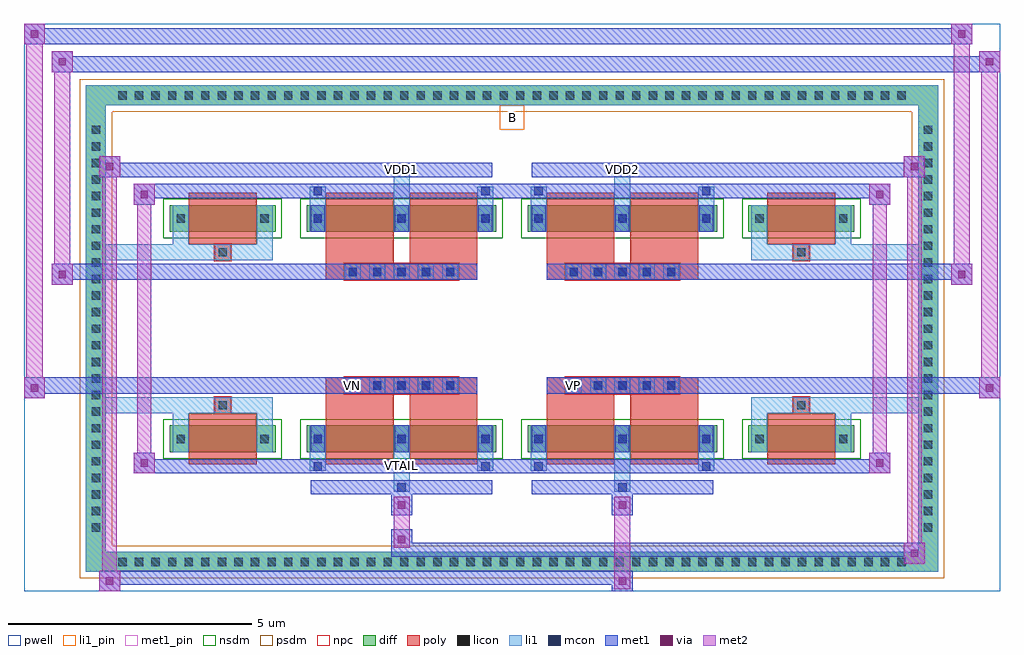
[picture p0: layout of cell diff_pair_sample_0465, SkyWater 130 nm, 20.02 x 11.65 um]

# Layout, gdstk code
import gdstk
lib = gdstk.Library(unit=1e-6, precision=5e-09)
def R(c, l, rs):  # rectangles x0, y0, x1, y1
    for r in rs: c.add(gdstk.rectangle(r[:2], r[2:], *l))
def A(c, l, x, y, w, h, nx, ny, dx, dy):  # array of equal rectangles
    R(c, l, [(x+i*dx, y+j*dy, x+i*dx+w, y+j*dy+h) for i in range(nx) for j in range(ny)])
def P(c, l, *ps):  # polygons
    for p in ps: c.add(gdstk.Polygon(p, *l))
pwell = (64, 44)
diff = (65, 20)
poly = (66, 20)
licon = (66, 44)
li1_pin = (67, 16)
li1 = (67, 20)
mcon = (67, 44)
met1_pin = (68, 16)
met1 = (68, 20)
via = (68, 44)
met2 = (69, 20)
nsdm = (93, 44)
psdm = (94, 20)
npc = (95, 20)

diff_pair_sample_0465 = lib.new_cell('diff_pair_sample_0465')
R(diff_pair_sample_0465, pwell, [(-10.01,-5.39,10.01,6.26), (-7.33,-3.58,-0.01,-0.8), (0.01,-3.58,7.33,-0.8), (-7.33,0.8,-0.01,3.58), (0.01,0.8,7.33,3.58)])
A(diff_pair_sample_0465, diff, -8.195, -4.99, 0.41, 0.41, 48, 2, 0.34, 9.57)
A(diff_pair_sample_0465, diff, -8.74, -4.285, 0.41, 0.41, 1, 25, 0, 0.34)
A(diff_pair_sample_0465, diff, 8.33, -4.285, 0.41, 0.41, 1, 25, 0, 0.34)
R(diff_pair_sample_0465, diff, [(-8.195,-4.99,8.195,-4.58), (-8.74,-4.285,-8.33,4.285), (8.33,-4.285,8.74,4.285), (-7.02,-2.535,-4.85,-1.985), (-4.21,-2.535,-0.32,-1.985), (0.32,-2.535,4.21,-1.985), (4.85,-2.535,7.02,-1.985), (-7.02,1.985,-4.85,2.535), (-4.21,1.985,-0.32,2.535), (0.32,1.985,4.21,2.535), (4.85,1.985,7.02,2.535), (-8.195,4.58,8.195,4.99)])
P(diff_pair_sample_0465, diff, [(8.74,4.99),(-8.74,4.99),(-8.74,-4.58),(-8.33,-4.58),(-8.33,4.58),(8.33,4.58),(8.33,-4.58),(-8.33,-4.58),(-8.74,-4.58),(-8.74,-4.99),(8.74,-4.99)])
A(diff_pair_sample_0465, poly, -3.43, -1.33, 0.33, 0.33, 5, 2, 0.5, 2.33)
A(diff_pair_sample_0465, poly, 1.1, -1.33, 0.33, 0.33, 5, 2, 0.5, 2.33)
R(diff_pair_sample_0465, poly, [(-6.63,-2.785,-5.24,-1.735), (-3.82,-2.785,-2.43,-1.735), (-2.1,-2.785,-0.71,-1.735), (0.71,-2.785,2.1,-1.735), (2.43,-2.785,3.82,-1.735), (5.24,-2.785,6.63,-1.735), (-6.1,-1.735,-5.77,-1.405), (-6.1,-1.735,-5.77,-1.405), (-3.82,-1.735,-2.43,-1.33), (-2.1,-1.735,-0.71,-1.33), (0.71,-1.735,2.1,-1.33), (2.43,-1.735,3.82,-1.33), (5.77,-1.735,6.1,-1.405), (5.77,-1.735,6.1,-1.405), (-3.82,-1.33,-0.71,-1), (0.71,-1.33,3.82,-1), (-3.82,1,-0.71,1.33), (0.71,1,3.82,1.33), (-3.82,1.33,-2.43,1.735), (-2.1,1.33,-0.71,1.735), (0.71,1.33,2.1,1.735), (2.43,1.33,3.82,1.735), (-6.1,1.405,-5.77,1.735), (-6.1,1.405,-5.77,1.735), (5.77,1.405,6.1,1.735), (5.77,1.405,6.1,1.735), (-6.63,1.735,-5.24,2.785), (-3.82,1.735,-2.43,2.785), (-2.1,1.735,-0.71,2.785), (0.71,1.735,2.1,2.785), (2.43,1.735,3.82,2.785), (5.24,1.735,6.63,2.785)])
A(diff_pair_sample_0465, licon, -8.075, -4.87, 0.17, 0.17, 48, 2, 0.34, 9.57)
A(diff_pair_sample_0465, licon, -8.62, -4.165, 0.17, 0.17, 1, 25, 0, 0.34)
A(diff_pair_sample_0465, licon, 8.45, -4.165, 0.17, 0.17, 1, 25, 0, 0.34)
A(diff_pair_sample_0465, licon, -4.07, -2.345, 0.17, 0.17, 3, 2, 1.72, 4.52)
A(diff_pair_sample_0465, licon, 0.46, -2.345, 0.17, 0.17, 3, 2, 1.72, 4.52)
A(diff_pair_sample_0465, licon, -3.35, -1.25, 0.17, 0.17, 5, 2, 0.5, 2.33)
A(diff_pair_sample_0465, licon, 1.18, -1.25, 0.17, 0.17, 5, 2, 0.5, 2.33)
R(diff_pair_sample_0465, licon, [(-6.88,-2.345,-6.71,-2.175), (-5.16,-2.345,-4.99,-2.175), (4.99,-2.345,5.16,-2.175), (6.71,-2.345,6.88,-2.175), (-6.02,-1.655,-5.85,-1.485), (5.85,-1.655,6.02,-1.485), (-6.02,1.485,-5.85,1.655), (5.85,1.485,6.02,1.655), (-6.88,2.175,-6.71,2.345), (-5.16,2.175,-4.99,2.345), (4.99,2.175,5.16,2.345), (6.71,2.175,6.88,2.345)])
R(diff_pair_sample_0465, li1_pin, [(-0.25,4.08,0.25,4.58)])
A(diff_pair_sample_0465, li1, -8.155, -4.95, 0.33, 0.33, 48, 2, 0.34, 9.57)
A(diff_pair_sample_0465, li1, -8.7, -4.245, 0.33, 0.33, 1, 25, 0, 0.34)
A(diff_pair_sample_0465, li1, 8.37, -4.245, 0.33, 0.33, 1, 25, 0, 0.34)
A(diff_pair_sample_0465, li1, -4.15, -2.535, 0.33, 0.55, 3, 2, 1.72, 4.52)
A(diff_pair_sample_0465, li1, 0.38, -2.535, 0.33, 0.55, 3, 2, 1.72, 4.52)
A(diff_pair_sample_0465, li1, -4.15, -2.425, 0.33, 0.33, 3, 2, 1.72, 4.52)
A(diff_pair_sample_0465, li1, 0.38, -2.425, 0.33, 0.33, 3, 2, 1.72, 4.52)
A(diff_pair_sample_0465, li1, -3.43, -1.33, 0.33, 0.33, 5, 2, 0.5, 2.33)
A(diff_pair_sample_0465, li1, 1.1, -1.33, 0.33, 0.33, 5, 2, 0.5, 2.33)
R(diff_pair_sample_0465, li1, [(-8.74,-4.99,-8.33,-4.58), (-8.74,-4.99,-8.33,-4.58), (-8.33,-4.99,8.33,-4.58), (8.33,-4.99,8.74,-4.58), (8.33,-4.99,8.74,-4.58), (-8.74,-4.58,-8.33,4.58), (8.33,-4.58,8.74,4.58), (-2.43,-3.34,-2.1,-2.535), (-2.35,-3.34,-2.18,-3.17), (2.1,-3.34,2.43,-2.535), (2.18,-3.34,2.35,-3.17), (-4.15,-2.91,-3.82,-2.535), (-4.07,-2.91,-3.9,-2.74), (-0.71,-2.91,-0.38,-2.535), (-0.63,-2.91,-0.46,-2.74), (0.38,-2.91,0.71,-2.535), (0.46,-2.91,0.63,-2.74), (3.82,-2.91,4.15,-2.535), (3.9,-2.91,4.07,-2.74), (-6.96,-2.535,-6.63,-1.985), (-5.24,-2.535,-4.91,-1.985), (4.91,-2.535,5.24,-1.985), (6.63,-2.535,6.96,-1.985), (-6.96,-2.425,-6.63,-2.095), (-5.24,-2.425,-4.91,-2.095), (4.91,-2.425,5.24,-2.095), (6.63,-2.425,6.96,-2.095), (-4.07,-2.345,-3.9,-2.175), (-4.07,-2.345,-3.9,-2.175), (-2.35,-2.345,-2.18,-2.175), (-2.35,-2.345,-2.18,-2.175), (-0.63,-2.345,-0.46,-2.175), (-0.63,-2.345,-0.46,-2.175), (0.46,-2.345,0.63,-2.175), (0.46,-2.345,0.63,-2.175), (2.18,-2.345,2.35,-2.175), (2.18,-2.345,2.35,-2.175), (3.9,-2.345,4.07,-2.175), (3.9,-2.345,4.07,-2.175), (-6.96,-1.985,-6.63,-1.405), (-5.24,-1.985,-4.91,-1.405), (4.91,-1.985,5.24,-1.405), (6.63,-1.985,6.96,-1.405), (-8.74,-1.735,-6.1,-1.405), (-6.96,-1.735,-6.1,-1.405), (-6.1,-1.735,-5.77,-1.405), (-5.77,-1.735,-4.91,-1.405), (4.91,-1.735,5.77,-1.405), (5.77,-1.735,6.1,-1.405), (5.77,-1.735,8.74,-1.405), (6.1,-1.735,6.96,-1.405), (-8.74,1.405,-6.1,1.735), (-6.96,1.405,-6.1,1.735), (-6.96,1.405,-6.63,1.985), (-6.1,1.405,-5.77,1.735), (-5.77,1.405,-4.91,1.735), (-5.24,1.405,-4.91,1.985), (4.91,1.405,5.77,1.735), (4.91,1.405,5.24,1.985), (5.77,1.405,6.1,1.735), (5.77,1.405,8.74,1.735), (6.1,1.405,6.96,1.735), (6.63,1.405,6.96,1.985), (-6.96,1.985,-6.63,2.535), (-5.24,1.985,-4.91,2.535), (4.91,1.985,5.24,2.535), (6.63,1.985,6.96,2.535), (-6.96,2.095,-6.63,2.425), (-5.24,2.095,-4.91,2.425), (4.91,2.095,5.24,2.425), (6.63,2.095,6.96,2.425), (-4.07,2.175,-3.9,2.345), (-4.07,2.175,-3.9,2.345), (-2.35,2.175,-2.18,2.345), (-2.35,2.175,-2.18,2.345), (-0.63,2.175,-0.46,2.345), (-0.63,2.175,-0.46,2.345), (0.46,2.175,0.63,2.345), (0.46,2.175,0.63,2.345), (2.18,2.175,2.35,2.345), (2.18,2.175,2.35,2.345), (3.9,2.175,4.07,2.345), (3.9,2.175,4.07,2.345), (-4.15,2.535,-3.82,2.91), (-2.43,2.535,-2.1,3.34), (-0.71,2.535,-0.38,2.91), (0.38,2.535,0.71,2.91), (2.1,2.535,2.43,3.34), (3.82,2.535,4.15,2.91), (-4.07,2.74,-3.9,2.91), (-0.63,2.74,-0.46,2.91), (0.46,2.74,0.63,2.91), (3.9,2.74,4.07,2.91), (-2.35,3.17,-2.18,3.34), (2.18,3.17,2.35,3.34), (-8.74,4.58,-8.33,4.99), (-8.74,4.58,-8.33,4.99), (-8.33,4.58,8.33,4.99), (8.33,4.58,8.74,4.99), (8.33,4.58,8.74,4.99)])
A(diff_pair_sample_0465, mcon, -4.07, -2.345, 0.17, 0.17, 3, 2, 1.72, 4.52)
A(diff_pair_sample_0465, mcon, 0.46, -2.345, 0.17, 0.17, 3, 2, 1.72, 4.52)
A(diff_pair_sample_0465, mcon, -3.35, -1.25, 0.17, 0.17, 5, 2, 0.5, 2.33)
A(diff_pair_sample_0465, mcon, 1.18, -1.25, 0.17, 0.17, 5, 2, 0.5, 2.33)
R(diff_pair_sample_0465, mcon, [(-2.35,-3.34,-2.18,-3.17), (2.18,-3.34,2.35,-3.17), (-4.07,-2.91,-3.9,-2.74), (-0.63,-2.91,-0.46,-2.74), (0.46,-2.91,0.63,-2.74), (3.9,-2.91,4.07,-2.74), (-4.07,2.74,-3.9,2.91), (-0.63,2.74,-0.46,2.91), (0.46,2.74,0.63,2.91), (3.9,2.74,4.07,2.91), (-2.35,3.17,-2.18,3.34), (2.18,3.17,2.35,3.34)])
R(diff_pair_sample_0465, met1_pin, [(-2.4,-2.95,-2.13,-2.68), (-3.4,-1.29,-3.13,-1.02), (1.13,-1.29,1.4,-1.02), (-2.4,3.13,-2.13,3.4), (2.13,3.13,2.4,3.4)])
A(diff_pair_sample_0465, met1, -4.13, -2.535, 0.29, 0.55, 3, 2, 1.72, 4.52)
A(diff_pair_sample_0465, met1, 0.4, -2.535, 0.29, 0.55, 3, 2, 1.72, 4.52)
A(diff_pair_sample_0465, met1, -4.13, -2.405, 0.29, 0.29, 3, 2, 1.72, 4.52)
A(diff_pair_sample_0465, met1, 0.4, -2.405, 0.29, 0.29, 3, 2, 1.72, 4.52)
A(diff_pair_sample_0465, met1, -3.41, -1.31, 0.29, 0.29, 5, 2, 0.5, 2.33)
A(diff_pair_sample_0465, met1, 1.12, -1.31, 0.29, 0.29, 5, 2, 0.5, 2.33)
R(diff_pair_sample_0465, met1, [(-8.47,-5.39,-8.04,-4.96), (2.05,-5.39,2.48,-4.96), (-8.47,-5.25,2.48,-4.96), (8.04,-4.82,8.47,-4.39), (-2.48,-4.68,8.47,-4.39), (-2.48,-4.54,-2.05,-4.11), (-2.48,-3.83,-2.05,-3.4), (2.05,-3.83,2.48,-3.4), (-4.13,-3.4,-0.4,-3.11), (-2.41,-3.4,-2.12,-3.11), (0.4,-3.4,4.13,-3.11), (2.12,-3.4,2.41,-3.11), (-7.76,-2.97,-7.33,-2.54), (-7.76,-2.97,-4.13,-2.68), (-4.13,-2.97,-3.84,-2.68), (-4.13,-2.97,-0.4,-2.68), (-0.69,-2.97,-0.4,-2.68), (-0.4,-2.97,0.4,-2.68), (0.4,-2.97,0.69,-2.68), (0.4,-2.97,4.13,-2.68), (3.84,-2.97,4.13,-2.68), (4.13,-2.97,7.76,-2.68), (7.33,-2.97,7.76,-2.54), (-10.01,-1.43,-9.58,-1), (9.58,-1.43,10.01,-1), (-10.01,-1.33,-0.71,-1), (-3.82,-1.33,-0.71,-1), (0.71,-1.33,3.82,-1), (0.71,-1.33,10.01,-1), (-9.44,0.9,-9.01,1.33), (9.01,0.9,9.44,1.33), (-9.44,1,-3.82,1.33), (-3.82,1,-0.71,1.33), (0.71,1,3.82,1.33), (3.82,1,9.44,1.33), (-7.76,2.54,-7.33,2.97), (7.33,2.54,7.76,2.97), (-7.76,2.68,-4.13,2.97), (-4.13,2.68,-3.84,2.97), (-4.13,2.68,-0.4,2.97), (-0.69,2.68,-0.4,2.97), (-0.4,2.68,0.4,2.97), (0.4,2.68,0.69,2.97), (0.4,2.68,4.13,2.97), (3.84,2.68,4.13,2.97), (4.13,2.68,7.76,2.97), (-8.47,3.11,-8.04,3.54), (-8.47,3.11,-4.13,3.4), (-4.13,3.11,-0.4,3.4), (-2.41,3.11,-2.12,3.4), (0.4,3.11,4.13,3.4), (2.12,3.11,2.41,3.4), (4.13,3.11,8.47,3.4), (8.04,3.11,8.47,3.54), (-9.44,5.26,-9.01,5.69), (-9.44,5.26,-7.33,5.59), (-7.33,5.26,7.33,5.59), (7.33,5.26,10.01,5.59), (9.58,5.26,10.01,5.69), (-10.01,5.83,-9.58,6.26), (-10.01,5.83,-7.33,6.16), (-7.33,5.83,7.33,6.16), (7.33,5.83,9.44,6.16), (9.01,5.83,9.44,6.26)])
R(diff_pair_sample_0465, via, [(-8.33,-5.25,-8.18,-5.1), (2.19,-5.25,2.34,-5.1), (8.18,-4.68,8.33,-4.53), (-2.34,-4.4,-2.19,-4.25), (-2.34,-3.69,-2.19,-3.54), (2.19,-3.69,2.34,-3.54), (-7.62,-2.83,-7.47,-2.68), (7.47,-2.83,7.62,-2.68), (-9.87,-1.29,-9.72,-1.14), (9.72,-1.29,9.87,-1.14), (-9.3,1.04,-9.15,1.19), (9.15,1.04,9.3,1.19), (-7.62,2.68,-7.47,2.83), (7.47,2.68,7.62,2.83), (-8.33,3.25,-8.18,3.4), (8.18,3.25,8.33,3.4), (-9.3,5.4,-9.15,5.55), (9.72,5.4,9.87,5.55), (-9.87,5.97,-9.72,6.12), (9.15,5.97,9.3,6.12)])
R(diff_pair_sample_0465, met2, [(-8.47,-5.39,-8.04,-4.96), (-8.4,-5.39,-8.11,3.54), (-8.11,-5.39,-8.04,-4.96), (-8.42,-5.34,-8.09,-5.01), (2.1,-5.34,2.43,-5.01), (2.1,-5.01,2.43,-3.78), (8.04,-4.82,8.47,-4.39), (8.11,-4.82,8.4,3.54), (8.4,-4.82,8.47,-4.39), (8.09,-4.77,8.42,-4.44), (-2.43,-4.49,-2.1,-4.16), (-2.43,-4.16,-2.1,-3.78), (-2.43,-3.78,-2.1,-3.45), (2.1,-3.78,2.43,-3.45), (-7.76,-2.97,-7.33,-2.54), (-7.69,-2.97,-7.4,2.97), (-7.4,-2.97,-7.33,-2.54), (7.33,-2.97,7.76,-2.54), (7.4,-2.97,7.69,2.97), (7.69,-2.97,7.76,-2.54), (-7.71,-2.92,-7.38,-2.59), (7.38,-2.92,7.71,-2.59), (-10.01,-1.43,-9.58,-1), (-9.96,-1.43,-9.63,6.26), (-9.63,-1.43,-9.58,-1), (9.58,-1.43,10.01,-1), (9.63,-1.43,9.96,5.69), (9.96,-1.43,10.01,-1), (-9.96,-1.38,-9.63,-1.05), (9.63,-1.38,9.96,-1.05), (-9.44,0.9,-9.01,1.33), (-9.39,0.9,-9.06,5.69), (-9.06,0.9,-9.01,1.33), (9.01,0.9,9.44,1.33), (9.06,0.9,9.39,6.26), (9.39,0.9,9.44,1.33), (-9.39,0.95,-9.06,1.28), (9.06,0.95,9.39,1.28), (-7.76,2.54,-7.33,2.97), (-7.4,2.54,-7.33,2.97), (7.33,2.54,7.76,2.97), (7.69,2.54,7.76,2.97), (-7.71,2.59,-7.38,2.92), (7.38,2.59,7.71,2.92), (-8.47,3.11,-8.04,3.54), (-8.11,3.11,-8.04,3.54), (8.04,3.11,8.47,3.54), (8.4,3.11,8.47,3.54), (-8.42,3.16,-8.09,3.49), (8.09,3.16,8.42,3.49), (-9.44,5.26,-9.01,5.69), (-9.06,5.26,-9.01,5.69), (9.58,5.26,10.01,5.69), (9.96,5.26,10.01,5.69), (-9.39,5.31,-9.06,5.64), (9.63,5.31,9.96,5.64), (-10.01,5.83,-9.58,6.26), (-9.63,5.83,-9.58,6.26), (9.01,5.83,9.44,6.26), (9.39,5.83,9.44,6.26), (-9.96,5.88,-9.63,6.21), (9.06,5.88,9.39,6.21)])
R(diff_pair_sample_0465, nsdm, [(-7.15,-2.665,-4.72,-1.855), (-4.34,-2.665,-0.19,-1.855), (0.19,-2.665,4.34,-1.855), (4.72,-2.665,7.15,-1.855), (-7.15,1.855,-4.72,2.665), (-4.34,1.855,-0.19,2.665), (0.19,1.855,4.34,2.665), (4.72,1.855,7.15,2.665)])
P(diff_pair_sample_0465, psdm, [(8.87,5.12),(-8.87,5.12),(-8.87,-4.45),(-8.2,-4.45),(-8.2,4.45),(8.2,4.45),(8.2,-4.45),(-8.2,-4.45),(-8.87,-4.45),(-8.87,-5.12),(8.87,-5.12)])
A(diff_pair_sample_0465, npc, -3.45, -1.35, 0.37, 0.37, 5, 2, 0.5, 2.33)
A(diff_pair_sample_0465, npc, 1.08, -1.35, 0.37, 0.37, 5, 2, 0.5, 2.33)
R(diff_pair_sample_0465, npc, [(-6.12,-1.755,-5.75,-1.385), (5.75,-1.755,6.12,-1.385), (-3.45,-1.35,-2.58,-0.98), (-3.45,-1.35,-2.58,-0.98), (-2.95,-1.35,-2.08,-0.98), (-2.95,-1.35,-2.08,-0.98), (-2.45,-1.35,-1.58,-0.98), (-2.45,-1.35,-1.58,-0.98), (-1.95,-1.35,-1.08,-0.98), (-1.95,-1.35,-1.08,-0.98), (1.08,-1.35,1.95,-0.98), (1.08,-1.35,1.95,-0.98), (1.58,-1.35,2.45,-0.98), (1.58,-1.35,2.45,-0.98), (2.08,-1.35,2.95,-0.98), (2.08,-1.35,2.95,-0.98), (2.58,-1.35,3.45,-0.98), (2.58,-1.35,3.45,-0.98), (-3.45,0.98,-2.58,1.35), (-3.45,0.98,-2.58,1.35), (-2.95,0.98,-2.08,1.35), (-2.95,0.98,-2.08,1.35), (-2.45,0.98,-1.58,1.35), (-2.45,0.98,-1.58,1.35), (-1.95,0.98,-1.08,1.35), (-1.95,0.98,-1.08,1.35), (1.08,0.98,1.95,1.35), (1.08,0.98,1.95,1.35), (1.58,0.98,2.45,1.35), (1.58,0.98,2.45,1.35), (2.08,0.98,2.95,1.35), (2.08,0.98,2.95,1.35), (2.58,0.98,3.45,1.35), (2.58,0.98,3.45,1.35), (-6.12,1.385,-5.75,1.755), (5.75,1.385,6.12,1.755)])
diff_pair_sample_0465.add(gdstk.Label('VTAIL', (-2.265,-2.815), layer=68, texttype=5))
diff_pair_sample_0465.add(gdstk.Label('VN', (-3.265,-1.155), layer=68, texttype=5))
diff_pair_sample_0465.add(gdstk.Label('VP', (1.265,-1.155), layer=68, texttype=5))
diff_pair_sample_0465.add(gdstk.Label('B', (0,4.33), layer=67, texttype=5))
diff_pair_sample_0465.add(gdstk.Label('VDD2', (2.265,3.265), layer=68, texttype=5))
diff_pair_sample_0465.add(gdstk.Label('VDD1', (-2.265,3.265), layer=68, texttype=5))

lib.write_gds('diff_pair_sample_0465.gds')
